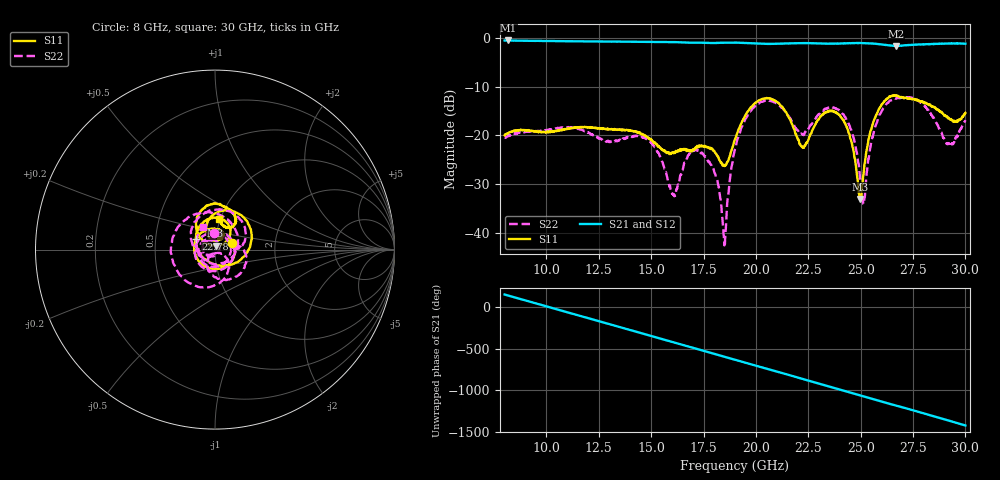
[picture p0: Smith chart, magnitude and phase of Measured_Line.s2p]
!Agilent Technologies,N5247A,US51370446,A.10.00.00
!Agilent N5247A: A.10.00.00
!Date: Tuesday, October 16, 2018 05:08:12
!Correction: S11(Full 2 Port(1,2))
!S21(Full 2 Port(1,2))
!S12(Full 2 Port(1,2))
!S22(Full 2 Port(1,2))
!S2P File: Measurements: S11, S21, S12, S22:
# Hz S  RI  R 50
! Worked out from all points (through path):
!   2001 points, 8 GHz to 30 GHz, reference 50 ohm
!   highest |S21| = -0.56 dB at 8.176 GHz (marker M1); lowest = -1.7 dB at 26.69 GHz (marker M2)
!   group delay of S21, straight-line fit = 198 ps
!   lowest |S11| = -33.0 dB at 24.96 GHz (marker M3), VSWR 1.05, Z = 50.2 + j2.22 ohm
!   |S11| at or under -10 dB: start of sweep to end of sweep
!   |S22| runs from -42.7 to -12.1 dB; largest |S21 - S12| = 0.011
!   S11 on the Smith chart (normalised r, x): 8 GHz: 1.20, +0.09; 22.78 GHz: 0.80, +0.10; 30 GHz: 0.99, +0.34
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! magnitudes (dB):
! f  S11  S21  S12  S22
! 8 GHz  -20.0  -0.6  -0.6  -20.5
! 8.176 GHz  -19.5  -0.6  -0.6  -20.1
! 11.67 GHz  -18.3  -0.7  -0.7  -18.8
! 15.34 GHz  -22.2  -0.9  -0.9  -23.5
! 16.06 GHz  -23.6  -0.9  -0.9  -32.1
! 16.84 GHz  -23.2  -1.0  -1.0  -23.6
! 17.53 GHz  -22.3  -1.0  -1.0  -24.2
! 18.13 GHz  -24.0  -1.1  -1.1  -28.9
! 18.48 GHz  -26.1  -1.0  -1.0  -41.2
! 19 GHz  -20.8  -1.0  -1.0  -22.8
! 20.31 GHz  -12.5  -1.2  -1.2  -13.1
! 22.19 GHz  -22.2  -1.1  -1.1  -19.7
! 22.67 GHz  -19.1  -1.1  -1.1  -17.6
! 22.78 GHz  -18.2  -1.1  -1.1  -16.9
! 24.09 GHz  -16.4  -1.2  -1.2  -15.3
! 24.96 GHz  -33.0  -1.1  -1.1  -28.6
! 25.15 GHz  -27.5  -1.1  -1.1  -33.8
! 25.61 GHz  -17.2  -1.2  -1.2  -19.6
! 26.34 GHz  -12.2  -1.6  -1.6  -13.2
! 26.69 GHz  -11.9  -1.7  -1.7  -12.5
! 29.21 GHz  -16.4  -1.2  -1.2  -21.8
! 30 GHz  -15.4  -1.2  -1.2  -16.9
